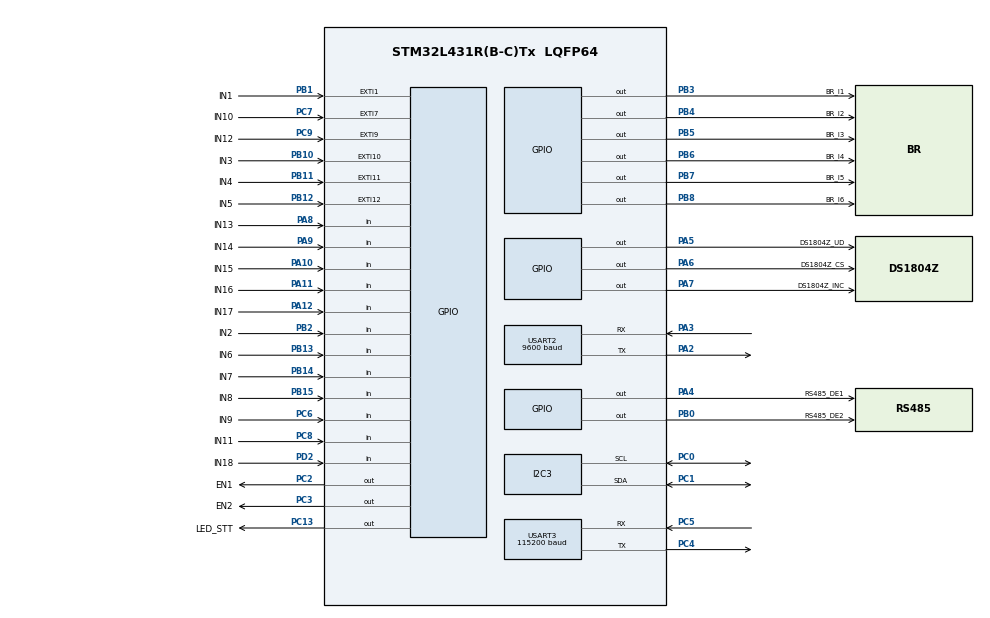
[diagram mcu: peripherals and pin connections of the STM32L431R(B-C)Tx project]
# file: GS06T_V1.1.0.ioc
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Dma.Request0=USART3_RX
Dma.Request1=USART3_TX
Dma.USART3_RX.0.Direction=DMA_PERIPH_TO_MEMORY
Dma.USART3_RX.0.Instance=DMA1_Channel3
Dma.USART3_RX.0.MemDataAlignment=DMA_MDATAALIGN_BYTE
Dma.USART3_RX.0.MemInc=DMA_MINC_ENABLE
Dma.USART3_RX.0.Mode=DMA_CIRCULAR
Dma.USART3_RX.0.PeriphDataAlignment=DMA_PDATAALIGN_BYTE
Dma.USART3_RX.0.PeriphInc=DMA_PINC_DISABLE
Dma.USART3_RX.0.Priority=DMA_PRIORITY_HIGH
Dma.USART3_TX.1.Direction=DMA_MEMORY_TO_PERIPH
Dma.USART3_TX.1.Instance=DMA1_Channel2
Dma.USART3_TX.1.MemDataAlignment=DMA_MDATAALIGN_BYTE
Dma.USART3_TX.1.MemInc=DMA_MINC_ENABLE
Dma.USART3_TX.1.Mode=DMA_NORMAL
Dma.USART3_TX.1.PeriphDataAlignment=DMA_PDATAALIGN_BYTE
Dma.USART3_TX.1.PeriphInc=DMA_PINC_DISABLE
Dma.USART3_TX.1.Priority=DMA_PRIORITY_HIGH
FREERTOS.BinarySemaphores01=myBinarySem01,Static,myBinarySem01ControlBlock,Available
FREERTOS.Tasks01=RS485_cmd,32,4096,StartRS485CmdTask,Default,NULL,Static,RS485_cmdBuffer,RS485_cmdControlBlock;Update_input,16,512,StartUpdate_input,Default,NULL,Static,RS485_reportBuffer,RS485_reportControlBlock
I2C3.DualAddressMode=I2C_DUALADDRESS_ENABLE
I2C3.Timing=0x00100D14
Mcu.Family=STM32L4
Mcu.Name=STM32L431R(B-C)Tx
Mcu.Package=LQFP64
NVIC.DMA1_Channel2_IRQn=true\:5\:0\:false\:false\:true\:true\:false\:true\:true
NVIC.DMA1_Channel3_IRQn=true\:5\:0\:false\:false\:true\:true\:false\:true\:true
NVIC.PVD_PVM_IRQn=true\:5\:0\:false\:false\:true\:true\:true\:true\:true
NVIC.PriorityGroup=NVIC_PRIORITYGROUP_4
NVIC.TIM6_DAC_IRQn=true\:5\:0\:false\:false\:true\:true\:true\:true\:true
NVIC.USART2_IRQn=true\:5\:0\:false\:false\:true\:true\:true\:true\:true
NVIC.USART3_IRQn=true\:5\:0\:false\:false\:true\:true\:true\:true\:true
PA0.Mode=SYS_WakeUp0
PA0.Signal=SYS_WKUP1
PA10.GPIO_Label=IN15
PA10.GPIO_PuPd=GPIO_PULLUP
PA10.Signal=GPIO_Input
PA11.GPIO_Label=IN16
PA11.Signal=GPIO_Input
PA12.GPIO_Label=IN17
PA12.GPIO_PuPd=GPIO_PULLUP
PA12.Signal=GPIO_Input
PA13\ (JTMS-SWDIO).Mode=Serial_Wire
PA13\ (JTMS-SWDIO).Signal=SYS_JTMS-SWDIO
PA14\ (JTCK-SWCLK).Mode=Serial_Wire
PA14\ (JTCK-SWCLK).Signal=SYS_JTCK-SWCLK
PA2.Mode=Asynchronous
PA2.Signal=USART2_TX
PA3.Mode=Asynchronous
PA3.Signal=USART2_RX
PA4.GPIO_Label=RS485_DE1
PA4.GPIO_PuPd=GPIO_PULLDOWN
PA4.Signal=GPIO_Output
PA5.GPIO_Label=DS1804Z_UD
PA5.Signal=GPIO_Output
PA6.GPIO_Label=DS1804Z_CS
PA6.Signal=GPIO_Output
PA7.GPIO_Label=DS1804Z_INC
PA7.Signal=GPIO_Output
PA8.GPIO_Label=IN13
PA8.GPIO_PuPd=GPIO_PULLUP
PA8.Signal=GPIO_Input
PA9.GPIO_Label=IN14
PA9.GPIO_PuPd=GPIO_PULLUP
PA9.Signal=GPIO_Input
PB0.GPIO_Label=RS485_DE2
PB0.GPIO_PuPd=GPIO_PULLDOWN
PB0.Signal=GPIO_Output
PB1.GPIO_Label=IN1
PB1.GPIO_ModeDefaultEXTI=GPIO_MODE_IT_RISING_FALLING
PB1.Signal=GPXTI1
PB10.GPIO_Label=IN3
PB10.GPIO_ModeDefaultEXTI=GPIO_MODE_IT_RISING_FALLING
PB10.Signal=GPXTI10
PB11.GPIO_Label=IN4
PB11.GPIO_ModeDefaultEXTI=GPIO_MODE_IT_RISING_FALLING
PB11.Signal=GPXTI11
PB12.GPIO_Label=IN5
PB12.GPIO_ModeDefaultEXTI=GPIO_MODE_IT_RISING_FALLING
PB12.Signal=GPXTI12
PB13.GPIO_Label=IN6
PB13.Signal=GPIO_Input
PB14.GPIO_Label=IN7
PB14.GPIO_PuPd=GPIO_PULLUP
PB14.Signal=GPIO_Input
PB15.GPIO_Label=IN8
PB15.GPIO_PuPd=GPIO_PULLUP
PB15.Signal=GPIO_Input
PB2.GPIO_Label=IN2
PB2.Signal=GPIO_Input
PB3\ (JTDO-TRACESWO).GPIO_Label=BR_I1
PB3\ (JTDO-TRACESWO).Signal=GPIO_Output
PB4\ (NJTRST).GPIO_Label=BR_I2
PB4\ (NJTRST).Signal=GPIO_Output
PB5.GPIO_Label=BR_I3
PB5.Signal=GPIO_Output
PB6.GPIO_Label=BR_I4
PB6.Signal=GPIO_Output
PB7.GPIO_Label=BR_I5
PB7.Signal=GPIO_Output
PB8.GPIO_Label=BR_I6
PB8.Signal=GPIO_Output
PC0.Mode=I2C
PC0.Signal=I2C3_SCL
PC1.Mode=I2C
PC1.Signal=I2C3_SDA
PC13.GPIO_Label=LED_STT
PC13.Signal=GPIO_Output
PC14-OSC32_IN\ (PC14).Mode=LSE-External-Oscillator
PC14-OSC32_IN\ (PC14).Signal=RCC_OSC32_IN
PC15-OSC32_OUT\ (PC15).Mode=LSE-External-Oscillator
PC15-OSC32_OUT\ (PC15).Signal=RCC_OSC32_OUT
PC2.GPIO_Label=EN1
PC2.Signal=GPIO_Output
PC3.GPIO_Label=EN2
PC3.Signal=GPIO_Output
PC4.Mode=Asynchronous
PC4.Signal=USART3_TX
PC5.Mode=Asynchronous
PC5.Signal=USART3_RX
PC6.GPIO_Label=IN9
PC6.Signal=GPIO_Input
PC7.GPIO_Label=IN10
PC7.GPIO_ModeDefaultEXTI=GPIO_MODE_IT_RISING_FALLING
PC7.Signal=GPXTI7
PC8.GPIO_Label=IN11
PC8.Signal=GPIO_Input
PC9.GPIO_Label=IN12
PC9.GPIO_ModeDefaultEXTI=GPIO_MODE_IT_RISING_FALLING
PC9.Signal=GPXTI9
PD2.GPIO_Label=IN18
PD2.GPIO_PuPd=GPIO_PULLUP
PD2.Signal=GPIO_Input
ProjectManager.HeapSize=0x200
ProjectManager.StackSize=0x400
ProjectManager.TargetToolchain=CMake
RCC.HSE_VALUE=8000000
RCC.HSI48_VALUE=48000000
RCC.HSI_VALUE=16000000
RCC.MSI_VALUE=4000000
RCC.VCOOutputFreq_Value=32000000
TIM6.Period=999
TIM6.Prescaler=3
USART2.BaudRate=9600
USART2.SwapParam=ADVFEATURE_SWAP_DISABLE
USART2.VirtualMode-Asynchronous=VM_ASYNC
USART3.BaudRate=115200
USART3.VirtualMode-Asynchronous=VM_ASYNC
VP_FREERTOS_VS_CMSIS_V2.Mode=CMSIS_V2
VP_TIM6_VS_ClockSourceINT.Mode=Enable_Timer
board=custom

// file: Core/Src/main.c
/* USER CODE BEGIN Header */
/**
  ******************************************************************************
  * @file           : main.c
  * @brief          : Main program body
  ******************************************************************************
  * @attention
  *
  * Copyright (c) 2026 STMicroelectronics.
  * All rights reserved.
  *
  * This software is licensed under terms that can be found in the LICENSE file
  * in the root directory of this software component.
  * If no LICENSE file comes with this software, it is provided AS-IS.
  *
  ******************************************************************************
  */
/* USER CODE END Header */
#include "main.h"
#include "cmsis_os.h"

/* USER CODE BEGIN Includes */

/* Compatibility typedef for CMSIS-RTOS v2 */
typedef StaticTask_t osStaticThreadDef_t;

#include "max3485.h"
#include "output.h"
#include "input.h"
#include "jsmn.h"
#include "monitors_config.h"
#include "json_cmd.h"
#include  <string.h>     /* for strlen in UART transmit */
#include  <stdio.h>      /* for sprintf in UART transmit */

/* USER CODE END Includes */

typedef StaticTask_t osStaticThreadDef_t;
typedef StaticSemaphore_t osStaticSemaphoreDef_t;

/* USER CODE BEGIN PD */
#define TOKENS_NUM 192
#define RX_BUFFER_SIZE_MAX 2048
#define RESPONSE_SIZE_MAX 2048
#define ERROR_RESPONSE_SIZE_MAX 128

/* USER CODE END PD */

I2C_HandleTypeDef hi2c3;

TIM_HandleTypeDef htim6;

UART_HandleTypeDef huart2;
UART_HandleTypeDef huart3;
DMA_HandleTypeDef hdma_usart3_rx;
DMA_HandleTypeDef hdma_usart3_tx;

/* Definitions for RS485_cmd */
osThreadId_t RS485_cmdHandle;
uint32_t RS485_cmdBuffer[ 4096 ];
osStaticThreadDef_t RS485_cmdControlBlock;
const osThreadAttr_t RS485_cmd_attributes = {
  .name = "RS485_cmd",
  .cb_mem = &RS485_cmdControlBlock,
  .cb_size = sizeof(RS485_cmdControlBlock),
  .stack_mem = &RS485_cmdBuffer[0],
  .stack_size = sizeof(RS485_cmdBuffer),
  .priority = (osPriority_t) osPriorityAboveNormal,
};
/* Definitions for Update_input */
osThreadId_t Update_inputHandle;
uint32_t RS485_reportBuffer[ 512 ];
osStaticThreadDef_t RS485_reportControlBlock;
const osThreadAttr_t Update_input_attributes = {
  .name = "Update_input",
  .cb_mem = &RS485_reportControlBlock,
  .cb_size = sizeof(RS485_reportControlBlock),
  .stack_mem = &RS485_reportBuffer[0],
  .stack_size = sizeof(RS485_reportBuffer),
  .priority = (osPriority_t) osPriorityBelowNormal,
};
/* Definitions for myBinarySem01 */
osSemaphoreId_t myBinarySem01Handle;
osStaticSemaphoreDef_t myBinarySem01ControlBlock;
const osSemaphoreAttr_t myBinarySem01_attributes = {
  .name = "myBinarySem01",
  .cb_mem = &myBinarySem01ControlBlock,
  .cb_size = sizeof(myBinarySem01ControlBlock),
};
/* USER CODE BEGIN PV */
MAX3485_HandleTypeDef hmax3485_1;
MAX3485_HandleTypeDef hmax3485_2;

uint8_t rx_buffer[RX_BUFFER_SIZE_MAX];
uint8_t rx_data;  /* buffer for UART receive interrupt */
uint16_t rx_index = 0;
// uint8_t Rx_flag = 0;
uint16_t timer = 0;

char response[RESPONSE_SIZE_MAX];
char err_response[ERROR_RESPONSE_SIZE_MAX];

extern char error_reason[32];

volatile uint32_t tim6_tick_ms = 0;

uint16_t count_task = 0;
uint16_t count_cplt = 0;

extern Relay_output_TypeDef relay_output_arr[RELAY_OUTPUT_NUM_MAX];

/* USER CODE END PV */

void SystemClock_Config(void);
static void MX_GPIO_Init(void);
static void MX_DMA_Init(void);
static void MX_I2C3_Init(void);
static void MX_USART2_UART_Init(void);
static void MX_USART3_UART_Init(void);
static void MX_TIM6_Init(void);
void StartRS485CmdTask(void *argument);
void StartUpdate_input(void *argument);

/* USER CODE BEGIN PFP */
// void json_err_handle(json_err_t* err);

/* USER CODE END PFP */

int main(void)
{

  /* MCU Configuration--------------------------------------------------------*/

  /* Reset of all peripherals, Initializes the Flash interface and the Systick. */
  HAL_Init();

  /* Configure the system clock */
  SystemClock_Config();

  /* Initialize all configured peripherals */
  MX_GPIO_Init();
  MX_DMA_Init();
  MX_I2C3_Init();
  MX_USART2_UART_Init();
  MX_USART3_UART_Init();
  MX_TIM6_Init();
  /* USER CODE BEGIN 2 */
  HAL_GPIO_WritePin(RS485_DE1_GPIO_Port, RS485_DE1_Pin, GPIO_PIN_RESET);  /* ensure DE1 is low for receive mode */
  HAL_GPIO_WritePin(RS485_DE2_GPIO_Port, RS485_DE2_Pin, GPIO_PIN_RESET);  /* ensure DE2 is low for receive mode */

  HAL_UARTEx_ReceiveToIdle_DMA(&huart3, rx_buffer, RX_BUFFER_SIZE_MAX);

  HAL_GPIO_WritePin(BR_I1_GPIO_Port, BR_I1_Pin, GPIO_PIN_RESET);
  HAL_GPIO_WritePin(BR_I2_GPIO_Port, BR_I2_Pin, GPIO_PIN_RESET);
  HAL_GPIO_WritePin(BR_I3_GPIO_Port, BR_I3_Pin, GPIO_PIN_RESET);
  HAL_GPIO_WritePin(BR_I4_GPIO_Port, BR_I4_Pin, GPIO_PIN_RESET);
  HAL_GPIO_WritePin(BR_I5_GPIO_Port, BR_I5_Pin, GPIO_PIN_RESET);
  HAL_GPIO_WritePin(BR_I6_GPIO_Port, BR_I6_Pin, GPIO_PIN_RESET);

  pcf8575_reset_state(&hi2c3);
  max3485_init(&hmax3485_2, &huart3, RS485_DE2_GPIO_Port, RS485_DE2_Pin);
  max3485_init(&hmax3485_1, &huart2, RS485_DE1_GPIO_Port, RS485_DE1_Pin);

  pcf8575_write_pin(&hi2c3, 0, 0);
  HAL_GPIO_WritePin(LED_STT_GPIO_Port, LED_STT_Pin, GPIO_PIN_SET);

  HAL_GPIO_WritePin(EN1_GPIO_Port, EN1_Pin, GPIO_PIN_SET);
  HAL_GPIO_WritePin(EN2_GPIO_Port, EN2_Pin, GPIO_PIN_SET);

  set_relay_output_button();
  HAL_TIM_Base_Start_IT(&htim6);

  /* USER CODE END 2 */

  /* Init scheduler */
  osKernelInitialize();

  /* Create the semaphores(s) */
  /* creation of myBinarySem01 */
  myBinarySem01Handle = osSemaphoreNew(1, 1, &myBinarySem01_attributes);

  /* Create the thread(s) */
  /* creation of RS485_cmd */
  RS485_cmdHandle = osThreadNew(StartRS485CmdTask, NULL, &RS485_cmd_attributes);

  /* creation of Update_input */
  Update_inputHandle = osThreadNew(StartUpdate_input, NULL, &Update_input_attributes);

  /* Start scheduler */
  osKernelStart();

  /* We should never get here as control is now taken by the scheduler */

  /* Infinite loop */
  while (1)
  {

  }
}

void SystemClock_Config(void)
{
  RCC_OscInitTypeDef RCC_OscInitStruct = {0};
  RCC_ClkInitTypeDef RCC_ClkInitStruct = {0};

  /** Configure the main internal regulator output voltage
  */
  if (HAL_PWREx_ControlVoltageScaling(PWR_REGULATOR_VOLTAGE_SCALE1) != HAL_OK)
  {
    Error_Handler();
  }

  /** Configure LSE Drive Capability
  */
  HAL_PWR_EnableBkUpAccess();
  __HAL_RCC_LSEDRIVE_CONFIG(RCC_LSEDRIVE_LOW);

  /** Initializes the RCC Oscillators according to the specified parameters
  * in the RCC_OscInitTypeDef structure.
  */
  RCC_OscInitStruct.OscillatorType = RCC_OSCILLATORTYPE_LSE|RCC_OSCILLATORTYPE_MSI;
  RCC_OscInitStruct.LSEState = RCC_LSE_ON;
  RCC_OscInitStruct.MSIState = RCC_MSI_ON;
  RCC_OscInitStruct.MSICalibrationValue = 0;
  RCC_OscInitStruct.MSIClockRange = RCC_MSIRANGE_6;
  RCC_OscInitStruct.PLL.PLLState = RCC_PLL_NONE;
  if (HAL_RCC_OscConfig(&RCC_OscInitStruct) != HAL_OK)
  {
    Error_Handler();
  }

  /** Initializes the CPU, AHB and APB buses clocks
  */
  RCC_ClkInitStruct.ClockType = RCC_CLOCKTYPE_HCLK|RCC_CLOCKTYPE_SYSCLK
                              |RCC_CLOCKTYPE_PCLK1|RCC_CLOCKTYPE_PCLK2;
  RCC_ClkInitStruct.SYSCLKSource = RCC_SYSCLKSOURCE_MSI;
  RCC_ClkInitStruct.AHBCLKDivider = RCC_SYSCLK_DIV1;
  RCC_ClkInitStruct.APB1CLKDivider = RCC_HCLK_DIV1;
  RCC_ClkInitStruct.APB2CLKDivider = RCC_HCLK_DIV1;

  if (HAL_RCC_ClockConfig(&RCC_ClkInitStruct, FLASH_LATENCY_0) != HAL_OK)
  {
    Error_Handler();
  }

  /** Enable MSI Auto calibration
  */
  HAL_RCCEx_EnableMSIPLLMode();
}

static void MX_I2C3_Init(void)
{

  hi2c3.Instance = I2C3;
  hi2c3.Init.Timing = 0x00100D14;
  hi2c3.Init.OwnAddress1 = 0;
  hi2c3.Init.AddressingMode = I2C_ADDRESSINGMODE_7BIT;
  hi2c3.Init.DualAddressMode = I2C_DUALADDRESS_ENABLE;
  hi2c3.Init.OwnAddress2 = 0;
  hi2c3.Init.OwnAddress2Masks = I2C_OA2_NOMASK;
  hi2c3.Init.GeneralCallMode = I2C_GENERALCALL_DISABLE;
  hi2c3.Init.NoStretchMode = I2C_NOSTRETCH_DISABLE;
  if (HAL_I2C_Init(&hi2c3) != HAL_OK)
  {
    Error_Handler();
  }

  /** Configure Analogue filter
  */
  if (HAL_I2CEx_ConfigAnalogFilter(&hi2c3, I2C_ANALOGFILTER_ENABLE) != HAL_OK)
  {
    Error_Handler();
  }

  /** Configure Digital filter
  */
  if (HAL_I2CEx_ConfigDigitalFilter(&hi2c3, 0) != HAL_OK)
  {
    Error_Handler();
  }

}

static void MX_TIM6_Init(void)
{

  TIM_MasterConfigTypeDef sMasterConfig = {0};

  htim6.Instance = TIM6;
  htim6.Init.Prescaler = 3;
  htim6.Init.CounterMode = TIM_COUNTERMODE_UP;
  htim6.Init.Period = 999;
  htim6.Init.AutoReloadPreload = TIM_AUTORELOAD_PRELOAD_DISABLE;
  if (HAL_TIM_Base_Init(&htim6) != HAL_OK)
  {
    Error_Handler();
  }
  sMasterConfig.MasterOutputTrigger = TIM_TRGO_RESET;
  sMasterConfig.MasterSlaveMode = TIM_MASTERSLAVEMODE_DISABLE;
  if (HAL_TIMEx_MasterConfigSynchronization(&htim6, &sMasterConfig) != HAL_OK)
  {
    Error_Handler();
  }

}

static void MX_USART2_UART_Init(void)
{

  huart2.Instance = USART2;
  huart2.Init.BaudRate = 9600;
  huart2.Init.WordLength = UART_WORDLENGTH_8B;
  huart2.Init.StopBits = UART_STOPBITS_1;
  huart2.Init.Parity = UART_PARITY_NONE;
  huart2.Init.Mode = UART_MODE_TX_RX;
  huart2.Init.HwFlowCtl = UART_HWCONTROL_NONE;
  huart2.Init.OverSampling = UART_OVERSAMPLING_16;
  huart2.Init.OneBitSampling = UART_ONE_BIT_SAMPLE_DISABLE;
  huart2.AdvancedInit.AdvFeatureInit = UART_ADVFEATURE_NO_INIT;
  if (HAL_UART_Init(&huart2) != HAL_OK)
  {
    Error_Handler();
  }

}

static void MX_USART3_UART_Init(void)
{

  huart3.Instance = USART3;
  huart3.Init.BaudRate = 115200;
  huart3.Init.WordLength = UART_WORDLENGTH_8B;
  huart3.Init.StopBits = UART_STOPBITS_1;
  huart3.Init.Parity = UART_PARITY_NONE;
  huart3.Init.Mode = UART_MODE_TX_RX;
  huart3.Init.HwFlowCtl = UART_HWCONTROL_NONE;
  huart3.Init.OverSampling = UART_OVERSAMPLING_16;
  huart3.Init.OneBitSampling = UART_ONE_BIT_SAMPLE_DISABLE;
  huart3.AdvancedInit.AdvFeatureInit = UART_ADVFEATURE_NO_INIT;
  if (HAL_UART_Init(&huart3) != HAL_OK)
  {
    Error_Handler();
  }

}

static void MX_DMA_Init(void)
{

  /* DMA controller clock enable */
  __HAL_RCC_DMA1_CLK_ENABLE();

  /* DMA interrupt init */
  /* DMA1_Channel2_IRQn interrupt configuration */
  HAL_NVIC_SetPriority(DMA1_Channel2_IRQn, 5, 0);
  HAL_NVIC_EnableIRQ(DMA1_Channel2_IRQn);
  /* DMA1_Channel3_IRQn interrupt configuration */
  HAL_NVIC_SetPriority(DMA1_Channel3_IRQn, 5, 0);
  HAL_NVIC_EnableIRQ(DMA1_Channel3_IRQn);

}

static void MX_GPIO_Init(void)
{
  GPIO_InitTypeDef GPIO_InitStruct = {0};

  /* GPIO Ports Clock Enable */
  __HAL_RCC_GPIOC_CLK_ENABLE();
  __HAL_RCC_GPIOA_CLK_ENABLE();
  __HAL_RCC_GPIOB_CLK_ENABLE();
  __HAL_RCC_GPIOD_CLK_ENABLE();

  /*Configure GPIO pin Output Level */
  HAL_GPIO_WritePin(GPIOC, LED_STT_Pin|EN1_Pin|EN2_Pin, GPIO_PIN_RESET);

  /*Configure GPIO pin Output Level */
  HAL_GPIO_WritePin(GPIOA, RS485_DE1_Pin|DS1804Z_UD_Pin|DS1804Z_CS_Pin|DS1804Z_INC_Pin, GPIO_PIN_RESET);

  /*Configure GPIO pin Output Level */
  HAL_GPIO_WritePin(GPIOB, RS485_DE2_Pin|BR_I1_Pin|BR_I2_Pin|BR_I3_Pin
                          |BR_I4_Pin|BR_I5_Pin|BR_I6_Pin, GPIO_PIN_RESET);

  /*Configure GPIO pins : LED_STT_Pin EN1_Pin EN2_Pin */
  GPIO_InitStruct.Pin = LED_STT_Pin|EN1_Pin|EN2_Pin;
  GPIO_InitStruct.Mode = GPIO_MODE_OUTPUT_PP;
  GPIO_InitStruct.Pull = GPIO_NOPULL;
  GPIO_InitStruct.Speed = GPIO_SPEED_FREQ_LOW;
  HAL_GPIO_Init(GPIOC, &GPIO_InitStruct);

  /*Configure GPIO pin : RS485_DE1_Pin */
  GPIO_InitStruct.Pin = RS485_DE1_Pin;
  GPIO_InitStruct.Mode = GPIO_MODE_OUTPUT_PP;
  GPIO_InitStruct.Pull = GPIO_PULLDOWN;
  GPIO_InitStruct.Speed = GPIO_SPEED_FREQ_LOW;
  HAL_GPIO_Init(RS485_DE1_GPIO_Port, &GPIO_InitStruct);

  /*Configure GPIO pins : DS1804Z_UD_Pin DS1804Z_CS_Pin DS1804Z_INC_Pin */
  GPIO_InitStruct.Pin = DS1804Z_UD_Pin|DS1804Z_CS_Pin|DS1804Z_INC_Pin;
  GPIO_InitStruct.Mode = GPIO_MODE_OUTPUT_PP;
  GPIO_InitStruct.Pull = GPIO_NOPULL;
  GPIO_InitStruct.Speed = GPIO_SPEED_FREQ_LOW;
  HAL_GPIO_Init(GPIOA, &GPIO_InitStruct);

  /*Configure GPIO pin : RS485_DE2_Pin */
  GPIO_InitStruct.Pin = RS485_DE2_Pin;
  GPIO_InitStruct.Mode = GPIO_MODE_OUTPUT_PP;
  GPIO_InitStruct.Pull = GPIO_PULLDOWN;
  GPIO_InitStruct.Speed = GPIO_SPEED_FREQ_LOW;
  HAL_GPIO_Init(RS485_DE2_GPIO_Port, &GPIO_InitStruct);

  /*Configure GPIO pins : IN1_Pin IN3_Pin IN4_Pin IN5_Pin */
  GPIO_InitStruct.Pin = IN1_Pin|IN3_Pin|IN4_Pin|IN5_Pin;
  GPIO_InitStruct.Mode = GPIO_MODE_IT_RISING_FALLING;
  GPIO_InitStruct.Pull = GPIO_NOPULL;
  HAL_GPIO_Init(GPIOB, &GPIO_InitStruct);

  /*Configure GPIO pins : IN2_Pin IN6_Pin */
  GPIO_InitStruct.Pin = IN2_Pin|IN6_Pin;
  GPIO_InitStruct.Mode = GPIO_MODE_INPUT;
  GPIO_InitStruct.Pull = GPIO_NOPULL;
  HAL_GPIO_Init(GPIOB, &GPIO_InitStruct);

  /*Configure GPIO pins : IN7_Pin IN8_Pin */
  GPIO_InitStruct.Pin = IN7_Pin|IN8_Pin;
  GPIO_InitStruct.Mode = GPIO_MODE_INPUT;
  GPIO_InitStruct.Pull = GPIO_PULLUP;
  HAL_GPIO_Init(GPIOB, &GPIO_InitStruct);

  /*Configure GPIO pins : IN9_Pin IN11_Pin */
  GPIO_InitStruct.Pin = IN9_Pin|IN11_Pin;
  GPIO_InitStruct.Mode = GPIO_MODE_INPUT;
  GPIO_InitStruct.Pull = GPIO_NOPULL;
  HAL_GPIO_Init(GPIOC, &GPIO_InitStruct);

  /*Configure GPIO pins : IN10_Pin IN12_Pin */
  GPIO_InitStruct.Pin = IN10_Pin|IN12_Pin;
  GPIO_InitStruct.Mode = GPIO_MODE_IT_RISING_FALLING;
  GPIO_InitStruct.Pull = GPIO_NOPULL;
  HAL_GPIO_Init(GPIOC, &GPIO_InitStruct);

  /*Configure GPIO pins : IN13_Pin IN14_Pin IN15_Pin IN17_Pin */
  GPIO_InitStruct.Pin = IN13_Pin|IN14_Pin|IN15_Pin|IN17_Pin;
  GPIO_InitStruct.Mode = GPIO_MODE_INPUT;
  GPIO_InitStruct.Pull = GPIO_PULLUP;
  HAL_GPIO_Init(GPIOA, &GPIO_InitStruct);

  /*Configure GPIO pin : IN16_Pin */
  GPIO_InitStruct.Pin = IN16_Pin;
  GPIO_InitStruct.Mode = GPIO_MODE_INPUT;
  GPIO_InitStruct.Pull = GPIO_NOPULL;
  HAL_GPIO_Init(IN16_GPIO_Port, &GPIO_InitStruct);

  /*Configure GPIO pin : IN18_Pin */
  GPIO_InitStruct.Pin = IN18_Pin;
  GPIO_InitStruct.Mode = GPIO_MODE_INPUT;
  GPIO_InitStruct.Pull = GPIO_PULLUP;
  HAL_GPIO_Init(IN18_GPIO_Port, &GPIO_InitStruct);

  /*Configure GPIO pins : BR_I1_Pin BR_I2_Pin BR_I3_Pin BR_I4_Pin
                           BR_I5_Pin BR_I6_Pin */
  GPIO_InitStruct.Pin = BR_I1_Pin|BR_I2_Pin|BR_I3_Pin|BR_I4_Pin
                          |BR_I5_Pin|BR_I6_Pin;
  GPIO_InitStruct.Mode = GPIO_MODE_OUTPUT_PP;
  GPIO_InitStruct.Pull = GPIO_NOPULL;
  GPIO_InitStruct.Speed = GPIO_SPEED_FREQ_LOW;
  HAL_GPIO_Init(GPIOB, &GPIO_InitStruct);

}

/* USER CODE BEGIN 4 */
/* Callback functions*/
void HAL_UARTEx_RxEventCallback(UART_HandleTypeDef *huart, uint16_t Size)
{
  if(huart->Instance == USART3){
		rx_index = Size;
		timer = 0;
	}
}

void HAL_TIM_PeriodElapsedCallback(TIM_HandleTypeDef *htim)
{
  if (htim->Instance == TIM6) {
    tim6_tick_ms++;
    relay_output_timer_tick();
  }
}

void HAL_UART_TxCpltCallback(UART_HandleTypeDef *huart)
{
  if(huart->Instance == USART3){
    count_cplt++;
    HAL_GPIO_WritePin(RS485_DE2_GPIO_Port, RS485_DE2_Pin, GPIO_PIN_RESET);  /* set DE2 low to switch back to receive mode */
    memset(response, 0, sizeof(response));
    char debug_buf[64];
    sprintf(debug_buf, "UART3 ERR: 0x%08lX\r\n", huart->ErrorCode);
    max3485_transmit(&hmax3485_1, (uint8_t*)debug_buf, strlen(debug_buf), 100);
  }
}

/* USER CODE END 4 */

void StartRS485CmdTask(void *argument)
{
  /* USER CODE BEGIN 5 */
  uint8_t ret;
  /* Infinite loop */
  for(;;)
  {
    if(timer >= 500 && rx_index > 0)  /* check if a complete command is received */
    {
      timer = 0;
      HAL_UART_DMAStop(&huart3);
      jsmn_parser parser;
      jsmntok_t tokens[TOKENS_NUM];
      json_err_t error = ERR_NONE;
      uint32_t seq_num = 0;
      char cmd[32];
      jsmn_init(&parser);
      ret = jsmn_parse(&parser, (const char *)rx_buffer, strlen((const char *)rx_buffer), tokens, TOKENS_NUM);
      if(ret < 0){
        error = ERR_JSON_PARSE;
        snprintf(error_reason, sizeof(error_reason), "parse");
      } else {
        seq_num = find_seq_number(tokens, ret);
        for(uint8_t i = 1; i < ret; i++) {
          if(tokens[i].type == JSMN_STRING){
            // kiểm tra nếu token là "cmd"
            if(jsoneq((const char *)rx_buffer, &tokens[i], "cmd") == 0) {
              // lấy giá trị của "cmd"
              jsmntok_t *cmd_token = &tokens[i + 1];
              snprintf(cmd, sizeof(cmd), "%.*s", cmd_token->end - cmd_token->start, (const char *)rx_buffer + cmd_token->start);
            }
          }
        }
        json_cmd_t num;
        num = json_cmd_from_str(cmd);
        switch(num) {
          default:
            error = ERR_INVALID_CMD;
            snprintf(error_reason, sizeof(error_reason), "%s", cmd[0] ? cmd : "unknown");
            handle_error(error, seq_num, err_response, sizeof(err_response));
            HAL_GPIO_WritePin(RS485_DE2_GPIO_Port, RS485_DE2_Pin, GPIO_PIN_SET);
            HAL_UART_Transmit_DMA(&huart3, (uint8_t*)err_response, strlen(err_response));
            break;
          case CMD_MONITOR_CONFIG: {
            monitors_set_json((const char*)rx_buffer);
            error = handle_monitors_config(tokens, ret, response, sizeof(response));
            if (error == ERR_NONE) {
              HAL_GPIO_WritePin(RS485_DE2_GPIO_Port, RS485_DE2_Pin, GPIO_PIN_SET);
              HAL_UART_Transmit_DMA(&huart3, (uint8_t*)response, strlen(response));
              // max3485_transmit(&hmax3485_2, (uint8_t*)response, strlen(response), 1000);
              // memset(response, 0, sizeof(response));
            } else {
              handle_error(error, seq_num, err_response, sizeof(err_response));
              HAL_GPIO_WritePin(RS485_DE2_GPIO_Port, RS485_DE2_Pin, GPIO_PIN_SET);
              HAL_UART_Transmit_DMA(&huart3, (uint8_t*)err_response, strlen(err_response));
            }
            break;
          }
          case CMD_READ_PATTERN:
            monitors_set_json((const char*)rx_buffer);
            error = handle_read_pattern(tokens, ret, response, sizeof(response));
            if(error == ERR_NONE) {
              // max3485_transmit(&hmax3485_2, (uint8_t*)response, strlen(response), 1000);
              HAL_GPIO_WritePin(RS485_DE2_GPIO_Port, RS485_DE2_Pin, GPIO_PIN_SET);
              HAL_UART_Transmit_DMA(&huart3, (uint8_t*)response, strlen(response));
              // memset(response, 0, sizeof(response));
            } else {
              handle_error(error, seq_num, err_response, sizeof(err_response));
              HAL_GPIO_WritePin(RS485_DE2_GPIO_Port, RS485_DE2_Pin, GPIO_PIN_SET);
              HAL_UART_Transmit_DMA(&huart3, (uint8_t*)err_response, strlen(err_response));
            }
            break;
          case CMD_READ_SNAPSHOT:
            monitors_set_json((const char*)rx_buffer);
            error = handle_read_snapshot(tokens, ret, response, sizeof(response));
            if(error == ERR_NONE) {
              // max3485_transmit(&hmax3485_2, (uint8_t*)response, strlen(response), 1000);
              HAL_GPIO_WritePin(RS485_DE2_GPIO_Port, RS485_DE2_Pin, GPIO_PIN_SET);
              HAL_UART_Transmit_DMA(&huart3, (uint8_t*)response, strlen(response));
              // memset(response, 0, sizeof(response));
            } else {
              handle_error(error, seq_num, err_response, sizeof(err_response));
              HAL_GPIO_WritePin(RS485_DE2_GPIO_Port, RS485_DE2_Pin, GPIO_PIN_SET);
              HAL_UART_Transmit_DMA(&huart3, (uint8_t*)err_response, strlen(err_response));
            }
            break;
          case CMD_POLL:
            monitors_set_json((const char*)rx_buffer);
            error = handle_poll(tokens, ret, response, sizeof(response));
            if(error == ERR_NONE) {
              // max3485_transmit(&hmax3485_2, (uint8_t*)response, strlen(response), 1000);
              HAL_GPIO_WritePin(RS485_DE2_GPIO_Port, RS485_DE2_Pin, GPIO_PIN_SET);
              HAL_UART_Transmit_DMA(&huart3, (uint8_t*)response, strlen(response));
              // memset(response, 0, sizeof(response));
            } else {
              handle_error(error, seq_num, err_response, sizeof(err_response));
              HAL_GPIO_WritePin(RS485_DE2_GPIO_Port, RS485_DE2_Pin, GPIO_PIN_SET);
              HAL_UART_Transmit_DMA(&huart3, (uint8_t*)err_response, strlen(err_response));
            }
            break;
          case CMD_FLUSH_EVENTS:
            monitors_set_json((const char*)rx_buffer);
            error = handle_flush_events(tokens, ret, response, sizeof(response));
            if(error == ERR_NONE) {
              // max3485_transmit(&hmax3485_2, (uint8_t*)response, strlen(response), 1000);
              HAL_GPIO_WritePin(RS485_DE2_GPIO_Port, RS485_DE2_Pin, GPIO_PIN_SET);
              HAL_UART_Transmit_DMA(&huart3, (uint8_t*)response, strlen(response));
              // memset(response, 0, sizeof(response));
            } else {
              handle_error(error, seq_num, err_response, sizeof(err_response));
              HAL_GPIO_WritePin(RS485_DE2_GPIO_Port, RS485_DE2_Pin, GPIO_PIN_SET);
              HAL_UART_Transmit_DMA(&huart3, (uint8_t*)err_response, strlen(err_response));
            }
            break;
          case CMD_PING:
            monitors_set_json((const char*)rx_buffer);
            error = handle_ping(tokens, ret, response, sizeof(response));
            if(error == ERR_NONE) {
              // char debug_buf[64];
              // HAL_StatusTypeDef status;
              // max3485_transmit(&hmax3485_2, (uint8_t*)response, strlen(response), 1000);
              HAL_GPIO_WritePin(RS485_DE2_GPIO_Port, RS485_DE2_Pin, GPIO_PIN_SET);
              HAL_UART_Transmit_DMA(&huart3, (uint8_t*)response, strlen(response));
              // memset(response, 0, sizeof(response));
              // sprintf(debug_buf, "TX status: %d, gState: %ld, err: %lu\r\n", status, huart3.gState, huart3.ErrorCode);
              // max3485_transmit(&hmax3485_1, (uint8_t*)debug_buf, strlen(debug_buf), HAL_MAX_DELAY);
              // memset(response, 0, sizeof(response));
            } else {
              handle_error(error, seq_num, err_response, sizeof(err_response));
              HAL_GPIO_WritePin(RS485_DE2_GPIO_Port, RS485_DE2_Pin, GPIO_PIN_SET);
              HAL_UART_Transmit_DMA(&huart3, (uint8_t*)err_response, strlen(err_response));
            }
            break;
          case CMD_RELAY_SET:
            monitors_set_json((const char*)rx_buffer);
            error = handle_relay_set(tokens, ret, response, sizeof(response));
            if(error == ERR_NONE) {
              // max3485_transmit(&hmax3485_2, (uint8_t*)response, strlen(response), 1000);
              HAL_GPIO_WritePin(RS485_DE2_GPIO_Port, RS485_DE2_Pin, GPIO_PIN_SET);
              HAL_UART_Transmit_DMA(&huart3, (uint8_t*)response, strlen(response));
              // memset(response, 0, sizeof(response));
            } else {
              handle_error(error, seq_num, err_response, sizeof(err_response));
              HAL_GPIO_WritePin(RS485_DE2_GPIO_Port, RS485_DE2_Pin, GPIO_PIN_SET);
              HAL_UART_Transmit_DMA(&huart3, (uint8_t*)err_response, strlen(err_response));
            }
            break;
          case CMD_RELAY_PULSE:
            monitors_set_json((const char*)rx_buffer);
          error = handle_relay_pulse(tokens, ret, response, sizeof(response));
            if(error == ERR_NONE) {
              // max3485_transmit(&hmax3485_2, (uint8_t*)response, strlen(response), 1000);
              HAL_GPIO_WritePin(RS485_DE2_GPIO_Port, RS485_DE2_Pin, GPIO_PIN_SET);
              HAL_UART_Transmit_DMA(&huart3, (uint8_t*)response, strlen(response));
              // memset(response, 0, sizeof(response));
            } else {
              handle_error(error, seq_num, err_response, sizeof(err_response));
              HAL_GPIO_WritePin(RS485_DE2_GPIO_Port, RS485_DE2_Pin, GPIO_PIN_SET);
              HAL_UART_Transmit_DMA(&huart3, (uint8_t*)err_response, strlen(err_response));
            }
            break;
          case CMD_RELAY_PULSE_SEQ:
            monitors_set_json((const char*)rx_buffer);
            error = handle_relay_pulse_seq(tokens, ret, response, sizeof(response));
            if(error == ERR_NONE) {
              // max3485_transmit(&hmax3485_2, (uint8_t*)response, strlen(response), 1000);
              HAL_GPIO_WritePin(RS485_DE2_GPIO_Port, RS485_DE2_Pin, GPIO_PIN_SET);
              HAL_UART_Transmit_DMA(&huart3, (uint8_t*)response, strlen(response));
              // memset(response, 0, sizeof(response));
            } else {
              handle_error(error, seq_num, err_response, sizeof(err_response));
              HAL_GPIO_WritePin(RS485_DE2_GPIO_Port, RS485_DE2_Pin, GPIO_PIN_SET);
              HAL_UART_Transmit_DMA(&huart3, (uint8_t*)err_response, strlen(err_response));
            }
            break;
          case CMD_RESET:
            monitors_set_json((const char*)rx_buffer);
            error = handle_reset(tokens, ret, response, sizeof(response));
            if(error == ERR_NONE) {
              // max3485_transmit(&hmax3485_2, (uint8_t*)response, strlen(response), 1000);
              HAL_GPIO_WritePin(RS485_DE2_GPIO_Port, RS485_DE2_Pin, GPIO_PIN_SET);
              HAL_UART_Transmit_DMA(&huart3, (uint8_t*)response, strlen(response));
              // memset(response, 0, sizeof(response));
            } else {
              handle_error(error, seq_num, err_response, sizeof(err_response));
              HAL_GPIO_WritePin(RS485_DE2_GPIO_Port, RS485_DE2_Pin, GPIO_PIN_SET);
              HAL_UART_Transmit_DMA(&huart3, (uint8_t*)err_response, strlen(err_response));
            }
            break;
        }
      }
      memset(rx_buffer, 0, RX_BUFFER_SIZE_MAX);
      rx_index = 0;
      HAL_UARTEx_ReceiveToIdle_DMA(&huart3, rx_buffer, RX_BUFFER_SIZE_MAX);
    }
    osDelay(200);
  }
  /* USER CODE END 5 */
}

void StartUpdate_input(void *argument)
{
  /* USER CODE BEGIN StartUpdate_input */
  uint8_t count = 0;
  /* Infinite loop */
  for(;;)
  {
    uint32_t input_state = 0;
    input_state |= (HAL_GPIO_ReadPin(IN1_GPIO_Port, IN1_Pin) == GPIO_PIN_RESET) ? (1 << 0) : 0;
    input_state |= (HAL_GPIO_ReadPin(IN2_GPIO_Port, IN2_Pin) == GPIO_PIN_RESET) ? (1 << 1) : 0;
    input_state |= (HAL_GPIO_ReadPin(IN3_GPIO_Port, IN3_Pin) == GPIO_PIN_RESET) ? (1 << 2) : 0;
    input_state |= (HAL_GPIO_ReadPin(IN4_GPIO_Port, IN4_Pin) == GPIO_PIN_RESET) ? (1 << 3) : 0;
    input_state |= (HAL_GPIO_ReadPin(IN5_GPIO_Port, IN5_Pin) == GPIO_PIN_RESET) ? (1 << 4) : 0;
    input_state |= (HAL_GPIO_ReadPin(IN6_GPIO_Port, IN6_Pin) == GPIO_PIN_RESET) ? (1 << 5) : 0;
    input_state |= (HAL_GPIO_ReadPin(IN7_GPIO_Port, IN7_Pin) == GPIO_PIN_RESET) ? (1 << 6) : 0;
    input_state |= (HAL_GPIO_ReadPin(IN8_GPIO_Port, IN8_Pin) == GPIO_PIN_RESET) ? (1 << 7) : 0;
    input_state |= (HAL_GPIO_ReadPin(IN9_GPIO_Port, IN9_Pin) == GPIO_PIN_RESET) ? (1 << 8) : 0;
    input_state |= (HAL_GPIO_ReadPin(IN10_GPIO_Port, IN10_Pin) == GPIO_PIN_RESET) ? (1 << 9) : 0;
    input_state |= (HAL_GPIO_ReadPin(IN11_GPIO_Port, IN11_Pin) == GPIO_PIN_RESET) ? (1 << 10) : 0;
    input_state |= (HAL_GPIO_ReadPin(IN12_GPIO_Port, IN12_Pin) == GPIO_PIN_RESET) ? (1 << 11) : 0;
    input_state |= (HAL_GPIO_ReadPin(IN13_GPIO_Port, IN13_Pin) == GPIO_PIN_RESET) ? (1 << 12) : 0;
    input_state |= (HAL_GPIO_ReadPin(IN14_GPIO_Port, IN14_Pin) == GPIO_PIN_RESET) ? (1 << 13) : 0;
    input_state |= (HAL_GPIO_ReadPin(IN15_GPIO_Port, IN15_Pin) == GPIO_PIN_RESET) ? (1 << 14) : 0;
    input_state |= (HAL_GPIO_ReadPin(IN16_GPIO_Port, IN16_Pin) == GPIO_PIN_RESET) ? (1 << 15) : 0;
    input_state |= (HAL_GPIO_ReadPin(IN17_GPIO_Port, IN17_Pin) == GPIO_PIN_RESET) ? (1 << 16) : 0;
    input_state |= (HAL_GPIO_ReadPin(IN18_GPIO_Port, IN18_Pin) == GPIO_PIN_RESET) ? (1 << 17) : 0;
    push_input(input_state);
    count++;
    if(count >= 25){
      count = 0;
      monitor_set_state_event();
      HAL_GPIO_TogglePin(LED_STT_GPIO_Port, LED_STT_Pin);
    }
    osDelay(SAMPLE_RATE_MS);  // �?�?c mỗi 100ms, có thể đi�?u chỉnh
  }
  /* USER CODE END StartUpdate_input */
}

void Error_Handler(void)
{
  __disable_irq();
  while (1)
  {
  }
}
